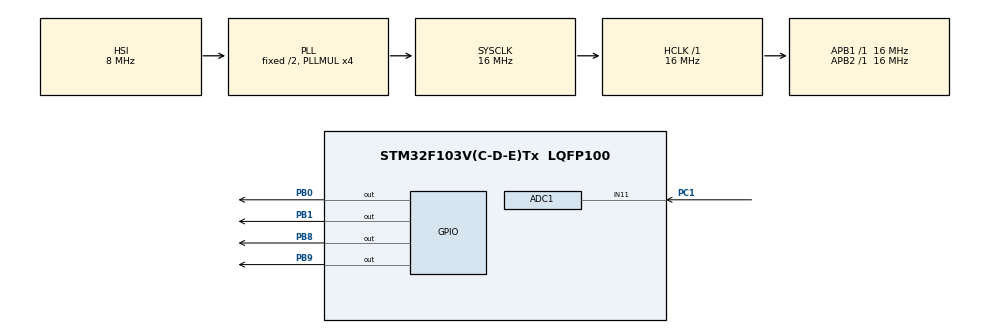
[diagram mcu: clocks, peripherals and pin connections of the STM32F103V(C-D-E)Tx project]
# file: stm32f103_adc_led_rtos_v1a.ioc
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ADC1.Channel-0\#ChannelRegularConversion=ADC_CHANNEL_11
ADC1.ContinuousConvMode=ENABLE
ADC1.NbrOfConversionFlag=1
ADC1.Rank-0\#ChannelRegularConversion=1
ADC1.SamplingTime-0\#ChannelRegularConversion=ADC_SAMPLETIME_1CYCLE_5
ADC1.master=1
Dma.ADC1.0.Direction=DMA_PERIPH_TO_MEMORY
Dma.ADC1.0.Instance=DMA1_Channel1
Dma.ADC1.0.MemDataAlignment=DMA_MDATAALIGN_HALFWORD
Dma.ADC1.0.MemInc=DMA_MINC_ENABLE
Dma.ADC1.0.Mode=DMA_CIRCULAR
Dma.ADC1.0.PeriphDataAlignment=DMA_PDATAALIGN_HALFWORD
Dma.ADC1.0.PeriphInc=DMA_PINC_DISABLE
Dma.ADC1.0.Priority=DMA_PRIORITY_LOW
Dma.Request0=ADC1
FREERTOS.BinarySemaphores01=xAdcSemaphore,Dynamic,NULL,Available
FREERTOS.Queues01=xDisplayQueue,1,uint16_t,0,Dynamic,NULL,NULL
FREERTOS.Tasks01=vDataProcessing,0,256,vDataProcessingTask,Default,NULL,Dynamic,NULL,NULL;vDisplay,0,128,vDisplayTask,Default,NULL,Dynamic,NULL,NULL
FREERTOS.configUSE_NEWLIB_REENTRANT=1
Mcu.Family=STM32F1
Mcu.Name=STM32F103V(C-D-E)Tx
Mcu.Package=LQFP100
NVIC.DMA1_Channel1_IRQn=true\:6\:0\:true\:false\:true\:true\:false\:true\:true
NVIC.PriorityGroup=NVIC_PRIORITYGROUP_4
NVIC.TIM2_IRQn=true\:15\:0\:false\:false\:true\:false\:false\:true\:true
NVIC.TimeBase=TIM2_IRQn
NVIC.TimeBaseIP=TIM2
OSC_IN.Mode=HSE-External-Oscillator
OSC_IN.Signal=RCC_OSC_IN
OSC_OUT.Mode=HSE-External-Oscillator
OSC_OUT.Signal=RCC_OSC_OUT
PA13.Mode=Serial_Wire
PA13.Signal=SYS_JTMS-SWDIO
PA14.Mode=Serial_Wire
PA14.Signal=SYS_JTCK-SWCLK
PB0.Signal=GPIO_Output
PB1.Signal=GPIO_Output
PB8.Signal=GPIO_Output
PB9.Signal=GPIO_Output
PC1.Signal=ADCx_IN11
ProjectManager.HeapSize=0x200
ProjectManager.StackSize=0x400
ProjectManager.TargetToolchain=STM32CubeIDE
RCC.AHBFreq_Value=16000000
RCC.APB1Freq_Value=16000000
RCC.APB1TimFreq_Value=16000000
RCC.APB2Freq_Value=16000000
RCC.APB2TimFreq_Value=16000000
RCC.HCLKFreq_Value=16000000
RCC.PLLMUL=RCC_PLL_MUL4
RCC.SYSCLKFreq_VALUE=16000000
RCC.SYSCLKSource=RCC_SYSCLKSOURCE_PLLCLK
RCC.USBFreq_Value=16000000
SH.ADCx_IN11.0=ADC1_IN11,IN11
VP_FREERTOS_VS_CMSIS_V1.Mode=CMSIS_V1
VP_SYS_VS_tim2.Mode=TIM2
board=custom

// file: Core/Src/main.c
/* USER CODE BEGIN Header */
/**
  ******************************************************************************
  * @file           : main.c
  * @brief          : Main program body
  ******************************************************************************
  * @attention
  *
  * Copyright (c) 2025 STMicroelectronics.
  * All rights reserved.
  *
  * This software is licensed under terms that can be found in the LICENSE file
  * in the root directory of this software component.
  * If no LICENSE file comes with this software, it is provided AS-IS.
  *
  ******************************************************************************
  */
/* USER CODE END Header */
#include "main.h"
#include "cmsis_os.h"

/* USER CODE BEGIN Includes */
#include "LED7SEG.h"
/* USER CODE END Includes */

ADC_HandleTypeDef hadc1;
DMA_HandleTypeDef hdma_adc1;

osThreadId vDataProcessingHandle;
osThreadId vDisplayHandle;
osMessageQId xDisplayQueueHandle;
osSemaphoreId xAdcSemaphoreHandle;
/* USER CODE BEGIN PV */
#define N 100
volatile uint16_t adc_buffer[N];
/* USER CODE END PV */

void SystemClock_Config(void);
static void MX_GPIO_Init(void);
static void MX_DMA_Init(void);
static void MX_ADC1_Init(void);
void vDataProcessingTask(void const * argument);
void vDisplayTask(void const * argument);

int main(void)
{

  /* MCU Configuration--------------------------------------------------------*/

  /* Reset of all peripherals, Initializes the Flash interface and the Systick. */
  HAL_Init();

  /* Configure the system clock */
  SystemClock_Config();

  /* Initialize all configured peripherals */
  MX_GPIO_Init();
  MX_DMA_Init();
  MX_ADC1_Init();

  /* Create the semaphores(s) */
  /* definition and creation of xAdcSemaphore */
  osSemaphoreDef(xAdcSemaphore);
  xAdcSemaphoreHandle = osSemaphoreCreate(osSemaphore(xAdcSemaphore), 1);

  /* Create the queue(s) */
  /* definition and creation of xDisplayQueue */
  osMessageQDef(xDisplayQueue, 1, uint16_t);
  xDisplayQueueHandle = osMessageCreate(osMessageQ(xDisplayQueue), NULL);

  /* Create the thread(s) */
  /* definition and creation of vDataProcessing */
  osThreadDef(vDataProcessing, vDataProcessingTask, osPriorityNormal, 0, 256);
  vDataProcessingHandle = osThreadCreate(osThread(vDataProcessing), NULL);

  /* definition and creation of vDisplay */
  osThreadDef(vDisplay, vDisplayTask, osPriorityNormal, 0, 128);
  vDisplayHandle = osThreadCreate(osThread(vDisplay), NULL);

  /* Start scheduler */
  osKernelStart();

  /* We should never get here as control is now taken by the scheduler */

  /* Infinite loop */
  while (1)
  {

  }
}

void SystemClock_Config(void)
{
  RCC_OscInitTypeDef RCC_OscInitStruct = {0};
  RCC_ClkInitTypeDef RCC_ClkInitStruct = {0};
  RCC_PeriphCLKInitTypeDef PeriphClkInit = {0};

  /** Initializes the RCC Oscillators according to the specified parameters
  * in the RCC_OscInitTypeDef structure.
  */
  RCC_OscInitStruct.OscillatorType = RCC_OSCILLATORTYPE_HSI;
  RCC_OscInitStruct.HSIState = RCC_HSI_ON;
  RCC_OscInitStruct.HSICalibrationValue = RCC_HSICALIBRATION_DEFAULT;
  RCC_OscInitStruct.PLL.PLLState = RCC_PLL_ON;
  RCC_OscInitStruct.PLL.PLLSource = RCC_PLLSOURCE_HSI_DIV2;
  RCC_OscInitStruct.PLL.PLLMUL = RCC_PLL_MUL4;
  if (HAL_RCC_OscConfig(&RCC_OscInitStruct) != HAL_OK)
  {
    Error_Handler();
  }

  /** Initializes the CPU, AHB and APB buses clocks
  */
  RCC_ClkInitStruct.ClockType = RCC_CLOCKTYPE_HCLK|RCC_CLOCKTYPE_SYSCLK
                              |RCC_CLOCKTYPE_PCLK1|RCC_CLOCKTYPE_PCLK2;
  RCC_ClkInitStruct.SYSCLKSource = RCC_SYSCLKSOURCE_PLLCLK;
  RCC_ClkInitStruct.AHBCLKDivider = RCC_SYSCLK_DIV1;
  RCC_ClkInitStruct.APB1CLKDivider = RCC_HCLK_DIV1;
  RCC_ClkInitStruct.APB2CLKDivider = RCC_HCLK_DIV1;

  if (HAL_RCC_ClockConfig(&RCC_ClkInitStruct, FLASH_LATENCY_0) != HAL_OK)
  {
    Error_Handler();
  }
  PeriphClkInit.PeriphClockSelection = RCC_PERIPHCLK_ADC;
  PeriphClkInit.AdcClockSelection = RCC_ADCPCLK2_DIV2;
  if (HAL_RCCEx_PeriphCLKConfig(&PeriphClkInit) != HAL_OK)
  {
    Error_Handler();
  }
}

static void MX_ADC1_Init(void)
{

  ADC_ChannelConfTypeDef sConfig = {0};

  /** Common config
  */
  hadc1.Instance = ADC1;
  hadc1.Init.ScanConvMode = ADC_SCAN_DISABLE;
  hadc1.Init.ContinuousConvMode = ENABLE;
  hadc1.Init.DiscontinuousConvMode = DISABLE;
  hadc1.Init.ExternalTrigConv = ADC_SOFTWARE_START;
  hadc1.Init.DataAlign = ADC_DATAALIGN_RIGHT;
  hadc1.Init.NbrOfConversion = 1;
  if (HAL_ADC_Init(&hadc1) != HAL_OK)
  {
    Error_Handler();
  }

  /** Configure Regular Channel
  */
  sConfig.Channel = ADC_CHANNEL_11;
  sConfig.Rank = ADC_REGULAR_RANK_1;
  sConfig.SamplingTime = ADC_SAMPLETIME_1CYCLE_5;
  if (HAL_ADC_ConfigChannel(&hadc1, &sConfig) != HAL_OK)
  {
    Error_Handler();
  }

}

static void MX_DMA_Init(void)
{

  /* DMA controller clock enable */
  __HAL_RCC_DMA1_CLK_ENABLE();

  /* DMA interrupt init */
  /* DMA1_Channel1_IRQn interrupt configuration */
  HAL_NVIC_SetPriority(DMA1_Channel1_IRQn, 6, 0);
  HAL_NVIC_EnableIRQ(DMA1_Channel1_IRQn);

}

static void MX_GPIO_Init(void)
{
  GPIO_InitTypeDef GPIO_InitStruct = {0};

  /* GPIO Ports Clock Enable */
  __HAL_RCC_GPIOC_CLK_ENABLE();
  __HAL_RCC_GPIOB_CLK_ENABLE();
  __HAL_RCC_GPIOA_CLK_ENABLE();

  /*Configure GPIO pin Output Level */
  HAL_GPIO_WritePin(GPIOB, GPIO_PIN_0|GPIO_PIN_1|GPIO_PIN_8|GPIO_PIN_9, GPIO_PIN_RESET);

  /*Configure GPIO pins : PB0 PB1 PB8 PB9 */
  GPIO_InitStruct.Pin = GPIO_PIN_0|GPIO_PIN_1|GPIO_PIN_8|GPIO_PIN_9;
  GPIO_InitStruct.Mode = GPIO_MODE_OUTPUT_PP;
  GPIO_InitStruct.Pull = GPIO_NOPULL;
  GPIO_InitStruct.Speed = GPIO_SPEED_FREQ_LOW;
  HAL_GPIO_Init(GPIOB, &GPIO_InitStruct);

}

/* USER CODE BEGIN 4 */
void HAL_ADC_ConvCpltCallback(ADC_HandleTypeDef* hadc)
{
  if(hadc->Instance == ADC1)
  {
    HAL_ADC_Stop_DMA(hadc);

    // Give the semaphore to unblock vDataProcessingTask.
    // CMSIS-OS v1 API handles context switching internally, so it's simpler.
    osSemaphoreRelease(xAdcSemaphoreHandle);
  }
}
/* USER CODE END 4 */

void vDataProcessingTask(void const * argument)
{
  /* USER CODE BEGIN 5 */
	(void)argument;
	  // Start the first ADC/DMA conversion
	  HAL_ADC_Start_DMA(&hadc1, (uint32_t*)adc_buffer, N);
  /* Infinite loop */
  for(;;)
  {
	  // Wait for the semaphore from the ADC/DMA completion ISR
	  if (osSemaphoreWait(xAdcSemaphoreHandle, osWaitForever) == osOK)
	      {
	        // --- Process the data ---
	        uint32_t temp = 0;
	        for (uint16_t i = 0; i < N; i++)
	        {
	          temp += adc_buffer[i];
	        }
	        uint16_t output = (uint16_t)(temp / N);
	        // --- Send the result to the display task ---
	        // osMessagePut will overwrite if the queue (mailbox) is full
	        osMessagePut(xDisplayQueueHandle, (uint32_t)output, 0);

	        // --- Restart ADC/DMA for the next cycle ---
	        HAL_Delay(1); // Using HAL_Delay is safe because timebase is now a TIM
	        HAL_ADC_Start_DMA(&hadc1, (uint32_t*)adc_buffer, N);
	      }

  }
  /* USER CODE END 5 */
}

void vDisplayTask(void const * argument)
{
  /* USER CODE BEGIN vDisplayTask */
	  (void)argument;
	  uint16_t displayValue = 0;
	  osEvent evt;
  /* Infinite loop */
  for(;;)
  {
	  // Check for a new value from the queue without blocking
	      evt = osMessageGet(xDisplayQueueHandle, 0);
	      if (evt.status == osEventMessage)
	      {
	        // New value received, update local variable
	        displayValue = (uint16_t)evt.value.v;
	      }

	      // Call the display function continuously
	      Display_7_SEG(displayValue);

	      // Delay to control the refresh rate of the display
	      osDelay(5); // osDelay takes milliseconds
  }
  /* USER CODE END vDisplayTask */
}

void HAL_TIM_PeriodElapsedCallback(TIM_HandleTypeDef *htim)
{
  if (htim->Instance == TIM2)
  {
    HAL_IncTick();
  }
}

void Error_Handler(void)
{
  __disable_irq();
  while (1)
  {
  }
}
